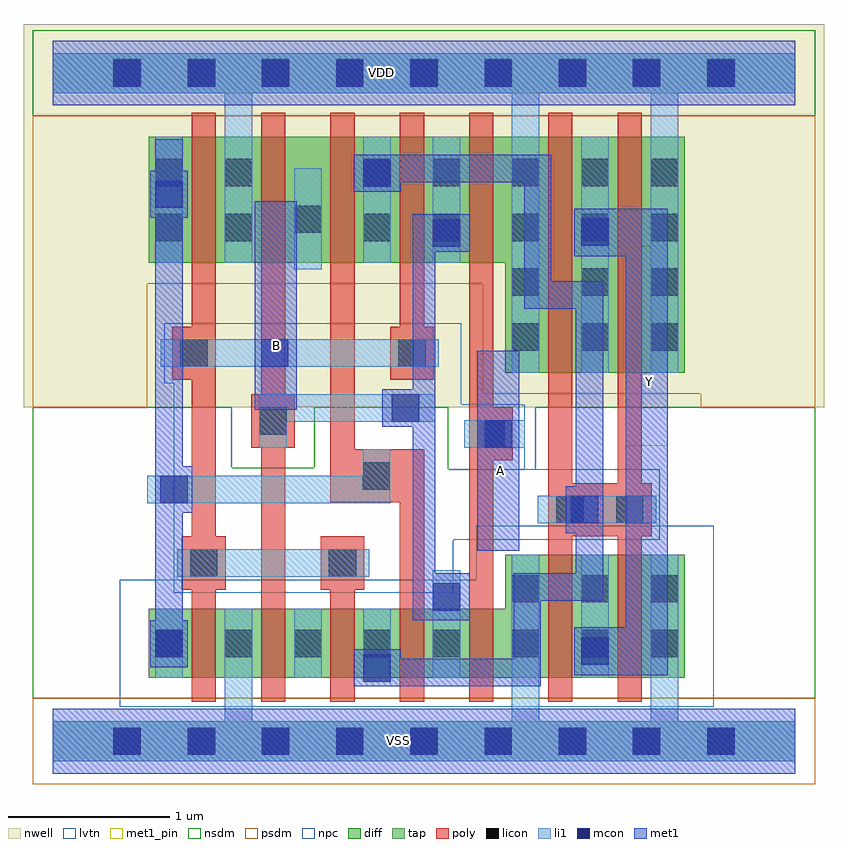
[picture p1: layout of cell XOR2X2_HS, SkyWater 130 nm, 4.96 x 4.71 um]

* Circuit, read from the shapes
.subckt XOR2X2_HS A B VDD VSS Y
XM1 VSS B n1 VSS sky130_fd_pr__nfet_01v8_lvt w=0.425 l=0.15
XM2 n2 n3 VSS VSS sky130_fd_pr__nfet_01v8_lvt w=0.425 l=0.15
XM3 n4 B n2 VSS sky130_fd_pr__nfet_01v8_lvt w=0.425 l=0.15
XM4 n3 n1 n4 VSS sky130_fd_pr__nfet_01v8_lvt w=0.425 l=0.15
XM5 VSS A n3 VSS sky130_fd_pr__nfet_01v8_lvt w=0.425 l=0.15
XM6 Y n4 VSS VSS sky130_fd_pr__nfet_01v8_lvt w=0.76 l=0.15 m=2
XM7 VDD B n1 VDD sky130_fd_pr__pfet_01v8 w=0.78 l=0.15
XM8 n5 n3 VDD VDD sky130_fd_pr__pfet_01v8 w=0.78 l=0.15
XM9 n4 n1 n5 VDD sky130_fd_pr__pfet_01v8 w=0.78 l=0.15
XM10 n3 B n4 VDD sky130_fd_pr__pfet_01v8 w=0.78 l=0.15
XM11 VDD A n3 VDD sky130_fd_pr__pfet_01v8 w=0.78 l=0.15
XM12 Y n4 VDD VDD sky130_fd_pr__pfet_01v8 w=1.46 l=0.15 m=2
.ends

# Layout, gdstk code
from math import pi, radians
import gdstk
lib = gdstk.Library(unit=1e-6, precision=1e-09)
def R(c, l, rs):  # rectangles x0, y0, x1, y1
    for r in rs: c.add(gdstk.rectangle(r[:2], r[2:], *l))
def A(c, l, x, y, w, h, nx, ny, dx, dy):  # array of equal rectangles
    R(c, l, [(x+i*dx, y+j*dy, x+i*dx+w, y+j*dy+h) for i in range(nx) for j in range(ny)])
def P(c, l, *ps):  # polygons
    for p in ps: c.add(gdstk.Polygon(p, *l))
nwell = (64, 20)
diff = (65, 20)
tap = (65, 44)
poly = (66, 20)
licon = (66, 44)
li1 = (67, 20)
mcon = (67, 44)
met1_pin = (68, 16)
met1 = (68, 20)
nsdm = (93, 44)
psdm = (94, 20)
npc = (95, 20)
lvtn = (125, 44)

l1m1_c_cdns_758729172868 = lib.new_cell('L1M1_C_CDNS_758729172868')
R(l1m1_c_cdns_758729172868, li1, [(-0.085,-0.165,0.085,0.085)])
R(l1m1_c_cdns_758729172868, mcon, [(-0.085,-0.085,0.085,0.085)])
R(l1m1_c_cdns_758729172868, met1, [(-0.145,-0.115,0.145,0.115)])

pyl1con_c_cdns_758729172 = lib.new_cell('PYL1CON_C_CDNS_758729172862')
R(pyl1con_c_cdns_758729172, poly, [(-0.135,-0.165,0.135,0.165)])
R(pyl1con_c_cdns_758729172, licon, [(-0.085,-0.085,0.085,0.085)])
R(pyl1con_c_cdns_758729172, npc, [(-0.185,-0.185,0.185,0.185)])

l1m1_c_cdns_758729172860 = lib.new_cell('L1M1_C_CDNS_758729172860')
R(l1m1_c_cdns_758729172860, li1, [(-0.165,-0.085,0.165,0.085)])
R(l1m1_c_cdns_758729172860, mcon, [(-0.085,-0.085,0.085,0.085)])
R(l1m1_c_cdns_758729172860, met1, [(-0.115,-0.145,0.115,0.145)])

l1m1_c_cdns_758729172861 = lib.new_cell('L1M1_C_CDNS_758729172861')
R(l1m1_c_cdns_758729172861, li1, [(-0.085,-0.165,0.085,0.165)])
R(l1m1_c_cdns_758729172861, mcon, [(-0.085,-0.085,0.085,0.085)])
R(l1m1_c_cdns_758729172861, met1, [(-0.115,-0.145,0.115,0.145)])

l1m1_c_cdns_758729172869 = lib.new_cell('L1M1_C_CDNS_758729172869')
R(l1m1_c_cdns_758729172869, li1, [(-0.085,-0.165,0.085,0.165)])
R(l1m1_c_cdns_758729172869, mcon, [(-0.085,-0.085,0.085,0.085)])
R(l1m1_c_cdns_758729172869, met1, [(-0.145,-0.145,0.145,0.145)])

c_l1m1_c_cdns_758729172861 = lib.new_cell('L1M1_C_CDNS_7587291728610')
R(c_l1m1_c_cdns_758729172861, li1, [(-0.085,-0.085,0.085,0.085)])
R(c_l1m1_c_cdns_758729172861, mcon, [(-0.085,-0.085,0.085,0.085)])
R(c_l1m1_c_cdns_758729172861, met1, [(-0.145,-0.115,0.145,0.115)])

licondiff_c_cdns_7587291 = lib.new_cell('LICONDIFF_C_CDNS_7587291728611')
R(licondiff_c_cdns_7587291, diff, [(-0.125,-0.145,0.125,0.145)])
R(licondiff_c_cdns_7587291, licon, [(-0.085,-0.085,0.085,0.085), (-0.085,-0.085,0.085,0.085)])

c_l1m1_c_cdns_758729172861_ = lib.new_cell('L1M1_C_CDNS_7587291728612')
R(c_l1m1_c_cdns_758729172861_, li1, [(-0.085,-0.165,0.085,0.085)])
R(c_l1m1_c_cdns_758729172861_, mcon, [(-0.085,-0.085,0.085,0.085)])
R(c_l1m1_c_cdns_758729172861_, met1, [(-0.115,-0.145,0.115,0.145)])

xor2x2_hs = lib.new_cell('XOR2X2_HS')
R(xor2x2_hs, nwell, [(-0.18,2.07,4.78,4.445)])
P(xor2x2_hs, diff, [(3.915,3.745),(0.595,3.745),(0.595,2.965),(2.805,2.965),(2.805,2.285),(3.915,2.285)],
  [(3.915,1.155),(2.805,1.155),(2.805,0.82),(0.595,0.82),(0.595,0.395),(3.915,0.395)])
R(xor2x2_hs, poly, [(0.86,0.245,1.01,3.895), (1.29,0.245,1.44,3.895), (1.72,0.245,1.87,0.97), (2.58,0.245,2.73,3.895), (2.15,2.405,2.3,3.895)])
P(xor2x2_hs, poly, [(2.3,1.81),(1.87,1.81),(1.87,3.895),(1.72,3.895),(1.72,1.48),(2.15,1.48),(2.15,0.245),(2.3,0.245)],
  [(3.65,3.895),(3.5,3.895),(3.5,1.6),(3.22,1.6),(3.22,3.895),(3.07,3.895),(3.07,0.245),(3.22,0.245),(3.22,1.27),(3.5,1.27),(3.5,0.245),(3.65,0.245)])
A(xor2x2_hs, licon, 0.375, -0.085, 0.17, 0.17, 9, 2, 0.46, 4.14)
A(xor2x2_hs, licon, 2.845, 0.52, 0.17, 0.17, 3, 2, 0.43, 0.34)
A(xor2x2_hs, licon, 2.845, 2.42, 0.17, 0.17, 3, 4, 0.43, 0.34)
R(xor2x2_hs, licon, [(0.635,0.52,0.805,0.69), (1.065,0.52,1.235,0.69), (1.925,0.52,2.095,0.69), (2.355,0.52,2.525,0.69), (0.635,3.1,0.805,3.27), (1.065,3.1,1.235,3.27), (1.925,3.1,2.095,3.27), (2.355,3.1,2.525,3.27), (0.635,3.44,0.805,3.61), (1.065,3.44,1.235,3.61), (1.925,3.44,2.095,3.61), (2.355,3.44,2.525,3.61)])
R(xor2x2_hs, li1, [(0.635,0.395,0.805,0.82), (1.925,0.395,2.095,0.82), (2.355,0.395,2.525,0.82), (3.275,0.395,3.445,1.155), (3.275,2.285,3.445,3.745), (0.635,2.965,0.805,3.745), (1.925,2.965,2.095,3.745), (2.355,2.965,2.525,3.745)])
P(xor2x2_hs, li1, [(2.09,1.81),(1.92,1.81),(1.92,1.645),(0.71,1.645),(0.71,1.475),(2.09,1.475)],
  [(4.6,4.265),(0,4.265),(0,4.015),(1.065,4.015),(1.065,2.965),(1.235,2.965),(1.235,4.015),(2.845,4.015),(2.845,2.285),(3.015,2.285),(3.015,4.015),(3.705,4.015),(3.705,2.285),(3.875,2.285),(3.875,4.015),(4.6,4.015)],
  [(4.6,0.125),(3.875,0.125),(3.875,1.155),(3.705,1.155),(3.705,0.125),(3.015,0.125),(3.015,1.155),(2.845,1.155),(2.845,0.125),(1.235,0.125),(1.235,0.82),(1.065,0.82),(1.065,0.125),(0,0.125),(0,-0.125),(4.6,-0.125)])
A(xor2x2_hs, mcon, 0.375, -0.085, 0.17, 0.17, 9, 2, 0.46, 4.14)
R(xor2x2_hs, met1_pin, [(2.63,1.18,2.89,2.42), (3.55,1.83,3.81,3.07), (1.25,2.055,1.51,3.345)])
P(xor2x2_hs, met1, [(2.585,3.265),(2.23,3.265),(2.23,0.75),(2.44,0.75),(2.44,0.92),(2.37,0.92),(2.37,3.095),(2.585,3.095)],
  [(3.41,2.85),(3.09,2.85),(3.09,3.635),(1.865,3.635),(1.865,3.465),(2.92,3.465),(2.92,2.68),(3.24,2.68),(3.24,1.04),(2.855,1.04),(2.855,0.51),(1.865,0.51),(1.865,0.34),(3.025,0.34),(3.025,0.87),(3.41,0.87)],
  [(3.81,3.3),(3.23,3.3),(3.23,3.005),(3.55,3.005),(3.55,0.705),(3.23,0.705),(3.23,0.41),(3.81,0.41)])
R(xor2x2_hs, nsdm, [(-0.125,3.875,4.725,4.405)])
P(xor2x2_hs, nsdm, [(4.725,2.07),(2.99,2.07),(2.99,1.685),(2.45,1.685),(2.45,2.07),(1.62,2.07),(1.62,1.695),(1.11,1.695),(1.11,2.07),(-0.125,2.07),(-0.125,0.265),(4.725,0.265)])
R(xor2x2_hs, psdm, [(-0.125,-0.265,4.725,0.265)])
P(xor2x2_hs, psdm, [(4.725,3.875),(-0.125,3.875),(-0.125,2.07),(0.585,2.07),(0.585,2.835),(2.665,2.835),(2.665,2.155),(4.015,2.155),(4.015,2.07),(4.725,2.07)])
P(xor2x2_hs, npc, [(3.76,1.685),(2.925,1.685),(2.925,2.085),(2.53,2.085),(2.53,2.59),(0.75,2.59),(0.75,0.92),(2.48,0.92),(2.48,1.25),(3.76,1.25)])
P(xor2x2_hs, lvtn, [(4.095,1.335),(2.625,1.335),(2.625,1),(0.415,1),(0.415,0.215),(4.095,0.215)])
xor2x2_hs.add(gdstk.FlexPath([(1.58,0.395),(1.58,0.82)], 0.17, ends="flush", simple_path=True, layer=67, datatype=20))  # li1
xor2x2_hs.add(gdstk.FlexPath([(1.58,2.925),(1.58,3.55)], 0.17, ends="flush", simple_path=True, layer=67, datatype=20))  # li1
xor2x2_hs.add(gdstk.FlexPath([(3.005,1.435),(3.74,1.435)], 0.17, ends="flush", simple_path=True, layer=67, datatype=20))  # li1
xor2x2_hs.add(gdstk.FlexPath([(2.925,1.905),(2.55,1.905)], 0.17, ends="flush", simple_path=True, layer=67, datatype=20))  # li1
xor2x2_hs.add(gdstk.FlexPath([(0.77,1.105),(1.96,1.105)], 0.17, ends="flush", simple_path=True, layer=67, datatype=20))  # li1
xor2x2_hs.add(gdstk.FlexPath([(0.67,2.405),(2.39,2.405)], 0.17, ends="flush", simple_path=True, layer=67, datatype=20))  # li1
xor2x2_hs.add(gdstk.FlexPath([(1.365,1.82),(1.365,2.065),(2.37,2.065)], 0.17, ends="flush", simple_path=True, layer=67, datatype=20))  # li1
xor2x2_hs.add(gdstk.FlexPath([(0,4.14),(4.6,4.14)], 0.4, ends="flush", simple_path=True, layer=68, datatype=20))  # met1
xor2x2_hs.add(gdstk.FlexPath([(0,0),(4.6,0)], 0.4, ends="flush", simple_path=True, layer=68, datatype=20))  # met1
xor2x2_hs.add(gdstk.FlexPath([(2.76,1.18),(2.76,2.42)], 0.26, ends="flush", simple_path=True, layer=68, datatype=20))  # met1
xor2x2_hs.add(gdstk.FlexPath([(1.38,2.055),(1.38,3.345)], 0.26, ends="flush", simple_path=True, layer=68, datatype=20))  # met1
xor2x2_hs.add(gdstk.FlexPath([(0.72,0.655),(0.72,3.73)], 0.17, ends="flush", simple_path=True, layer=68, datatype=20))  # met1
xor2x2_hs.add(gdstk.FlexPath([(0,4.14),(4.6,4.14)], 0.4, ends="flush", simple_path=True, layer=68, datatype=16))  # met1_pin
xor2x2_hs.add(gdstk.FlexPath([(0,0),(4.6,0)], 0.4, ends="flush", simple_path=True, layer=68, datatype=16))  # met1_pin
xor2x2_hs.add(gdstk.FlexPath([(0,4.14),(4.6,4.14)], 0.25, ends="flush", simple_path=True, layer=65, datatype=44))  # tap
xor2x2_hs.add(gdstk.FlexPath([(0,0),(4.6,0)], 0.25, ends="flush", simple_path=True, layer=65, datatype=44))  # tap
xor2x2_hs.add(gdstk.Reference(l1m1_c_cdns_758729172868, (3.295,1.435), rotation=pi/2))
xor2x2_hs.add(gdstk.Reference(pyl1con_c_cdns_758729172, (3.575,1.435), rotation=pi))
xor2x2_hs.add(gdstk.Reference(pyl1con_c_cdns_758729172, (3.205,1.435), rotation=pi))
xor2x2_hs.add(gdstk.Reference(pyl1con_c_cdns_758729172, (1.365,1.985), rotation=pi))
xor2x2_hs.add(gdstk.Reference(pyl1con_c_cdns_758729172, (2.715,1.905), rotation=pi))
xor2x2_hs.add(gdstk.Reference(pyl1con_c_cdns_758729172, (1.795,1.105), rotation=pi))
xor2x2_hs.add(gdstk.Reference(pyl1con_c_cdns_758729172, (0.935,1.105), rotation=pi))
xor2x2_hs.add(gdstk.Reference(pyl1con_c_cdns_758729172, (2.225,2.405), rotation=pi))
xor2x2_hs.add(gdstk.Reference(pyl1con_c_cdns_758729172, (0.875,2.405), rotation=pi))
xor2x2_hs.add(gdstk.Reference(pyl1con_c_cdns_758729172, (2.005,1.645), x_reflection=True))
xor2x2_hs.add(gdstk.Reference(l1m1_c_cdns_758729172860, (2.76,1.905), x_reflection=True))
xor2x2_hs.add(gdstk.Reference(l1m1_c_cdns_758729172860, (1.375,2.405), x_reflection=True))
xor2x2_hs.add(gdstk.Reference(l1m1_c_cdns_758729172860, (0.75,1.56), rotation=pi, x_reflection=True))
xor2x2_hs.add(gdstk.Reference(l1m1_c_cdns_758729172861, (3.36,0.56)))
xor2x2_hs.add(gdstk.Reference(l1m1_c_cdns_758729172861, (3.36,3.155)))
xor2x2_hs.add(gdstk.Reference(l1m1_c_cdns_758729172861, (0.72,0.605)))
xor2x2_hs.add(gdstk.Reference(l1m1_c_cdns_758729172869, (2.44,0.895), x_reflection=True))
xor2x2_hs.add(gdstk.Reference(c_l1m1_c_cdns_758729172861, (2.01,3.52), rotation=pi))
xor2x2_hs.add(gdstk.Reference(c_l1m1_c_cdns_758729172861, (2.01,0.455), rotation=pi))
xor2x2_hs.add(gdstk.Reference(c_l1m1_c_cdns_758729172861, (2.44,3.15), x_reflection=True))
xor2x2_hs.add(gdstk.Reference(licondiff_c_cdns_7587291, (1.58,0.605)))
xor2x2_hs.add(gdstk.Reference(licondiff_c_cdns_7587291, (1.58,3.235)))
xor2x2_hs.add(gdstk.Reference(c_l1m1_c_cdns_758729172861_, (0.72,3.39)))
xor2x2_hs.add(gdstk.Reference(c_l1m1_c_cdns_758729172861_, (2.185,2.065), rotation=pi/2, x_reflection=True))
xor2x2_hs.add(gdstk.Label('VDD', (2.035,4.145), layer=68, texttype=5))
xor2x2_hs.add(gdstk.Label('Y', (3.695,2.23), layer=68, texttype=5))
xor2x2_hs.add(gdstk.Label('B', (1.385,2.455), layer=68, texttype=5))
xor2x2_hs.add(gdstk.Label('VSS', (2.14,0.005), layer=68, texttype=5))
xor2x2_hs.add(gdstk.Label('A', (2.775,1.675), layer=68, texttype=5))

lib.write_gds('XOR2X2_HS.gds')
